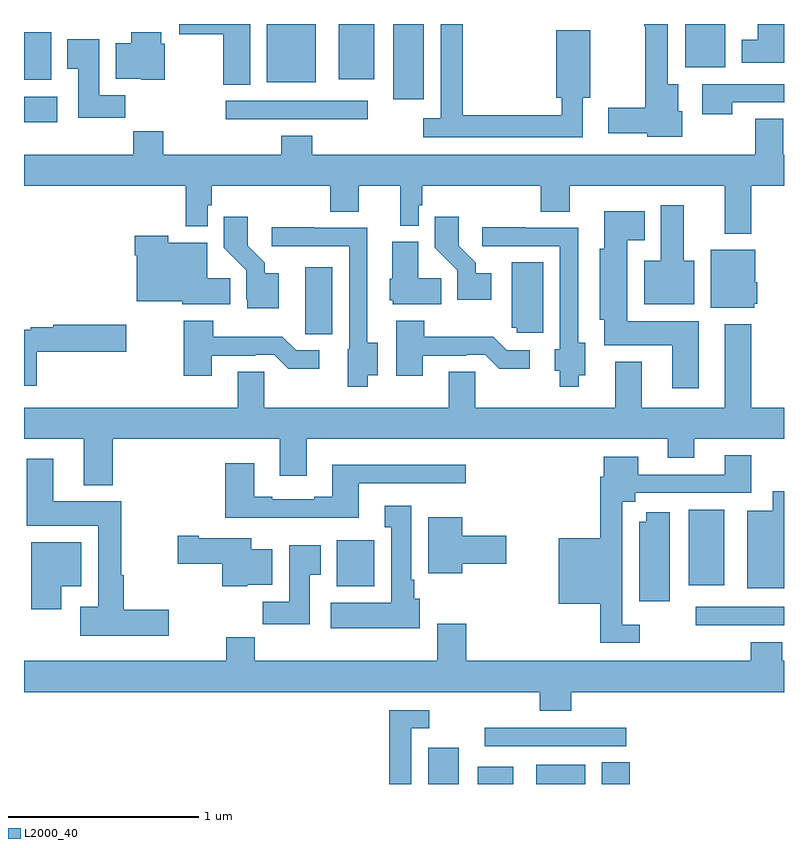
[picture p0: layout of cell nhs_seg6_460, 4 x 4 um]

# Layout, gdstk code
import gdstk
lib = gdstk.Library(unit=1e-6, precision=1e-09)
def R(c, l, rs):  # rectangles x0, y0, x1, y1
    for r in rs: c.add(gdstk.rectangle(r[:2], r[2:], *l))
def P(c, l, *ps):  # polygons
    for p in ps: c.add(gdstk.Polygon(p, *l))
L2000_40 = (2000, 40)

nhs_seg6_460 = lib.new_cell('nhs_seg6_460')
R(nhs_seg6_460, L2000_40, [(139.127,965.5,139.288,965.692), (139.388,965.5,139.576,965.59), (139.697,965.5,139.954,965.602), (140.042,965.5,140.189,965.615), (139.425,965.7,140.17,965.796), (140.535,966.336,141,966.432), (138.647,966.542,138.844,966.784), (140.498,966.545,140.686,966.943), (137,968.984,137.176,969.118), (138.063,969,138.808,969.096), (138.944,969.105,139.105,969.5), (138.278,969.194,138.535,969.5), (137,969.206,137.143,969.456), (138.656,969.209,138.844,969.5), (140.48,969.272,140.692,969.5)])
P(nhs_seg6_460, L2000_40, [(138.19,969.5),(137.816,969.5),(137.816,969.446),(138.049,969.446),(138.049,969.181),(138.19,969.181)],
  [(139.942,969.113),(139.98,969.113),(139.98,969.466),(139.802,969.466),(139.802,969.113),(139.829,969.113),(139.829,969.02),(139.31,969.02),(139.31,969.5),(139.194,969.5),(139.194,969.004),(139.101,969.004),(139.101,968.904),(139.942,968.904)],
  [(141,969.5),(140.861,969.5),(140.861,969.418),(140.777,969.418),(140.777,969.296),(141,969.296)],
  [(140.464,969.042),(140.443,969.042),(140.443,969.184),(140.389,969.184),(140.389,969.5),(140.264,969.5),(140.264,969.489),(140.269,969.489),(140.269,969.059),(140.076,969.059),(140.076,968.924),(140.28,968.924),(140.28,968.906),(140.464,968.906)],
  [(137.742,969.396),(137.722,969.396),(137.722,969.457),(137.564,969.457),(137.564,969.4),(137.483,969.4),(137.483,969.212),(137.616,969.212),(137.616,969.206),(137.742,969.206)],
  [(137.534,969.124),(137.395,969.124),(137.395,969.421),(137.228,969.421),(137.228,969.265),(137.285,969.265),(137.285,969.006),(137.534,969.006)],
  [(140.727,969.087),(141,969.087),(141,969.183),(140.571,969.183),(140.571,969.024),(140.727,969.024)],
  [(140.827,968.648),(141,968.648),(141,968.812),(140.995,968.812),(140.995,969.002),(140.848,969.002),(140.848,968.812),(138.518,968.812),(138.518,968.911),(138.353,968.911),(138.353,968.812),(137.732,968.812),(137.732,968.936),(137.575,968.936),(137.575,968.812),(137,968.812),(137,968.648),(137.851,968.648),(137.851,968.435),(137.967,968.435),(137.967,968.547),(137.987,968.547),(137.987,968.648),(138.611,968.648),(138.611,968.512),(138.763,968.512),(138.763,968.648),(138.98,968.648),(138.98,968.438),(139.077,968.438),(139.077,968.547),(139.097,968.547),(139.097,968.648),(139.721,968.648),(139.721,968.512),(139.873,968.512),(139.873,968.648),(140.687,968.648),(140.687,968.396),(140.827,968.396)],
  [(140.527,968.254),(140.473,968.254),(140.473,968.545),(140.351,968.545),(140.351,968.254),(140.264,968.254),(140.264,968.024),(140.527,968.024)],
  [(140.551,967.936),(140.176,967.936),(140.176,968.363),(140.266,968.363),(140.266,968.515),(140.054,968.515),(140.054,968.316),(140.03,968.316),(140.03,967.944),(140.054,967.944),(140.054,967.808),(140.411,967.808),(140.411,967.584),(140.551,967.584)],
  [(138.34,968.188),(138.268,968.188),(138.268,968.243),(138.178,968.333),(138.178,968.485),(138.052,968.485),(138.052,968.322),(138.171,968.203),(138.171,968.052),(138.176,968.052),(138.176,968.003),(138.34,968.003)],
  [(139.459,968.188),(139.378,968.188),(139.378,968.243),(139.288,968.333),(139.288,968.485),(139.162,968.485),(139.162,968.322),(139.281,968.203),(139.281,968.048),(139.459,968.048)],
  [(139.919,967.652),(139.954,967.652),(139.954,967.823),(139.917,967.823),(139.917,968.427),(139.637,968.427),(139.637,968.43),(139.413,968.43),(139.413,968.331),(139.821,968.331),(139.821,967.788),(139.793,967.788),(139.793,967.674),(139.82,967.674),(139.82,967.592),(139.919,967.592)],
  [(138.808,967.652),(138.862,967.652),(138.862,967.823),(138.807,967.823),(138.807,968.427),(138.527,968.427),(138.527,968.43),(138.303,968.43),(138.303,968.331),(138.711,968.331),(138.711,967.788),(138.704,967.788),(138.704,967.592),(138.808,967.592)],
  [(138.086,968.162),(137.965,968.162),(137.965,968.35),(137.76,968.35),(137.76,968.386),(137.582,968.386),(137.582,968.282),(137.594,968.282),(137.594,968.042),(137.832,968.042),(137.832,968.024),(138.086,968.024)],
  [(139.196,968.162),(139.075,968.162),(139.075,968.353),(138.938,968.353),(138.938,968.16),(138.926,968.16),(138.926,968.046),(138.942,968.046),(138.942,968.024),(139.196,968.024)],
  [(140.844,968.028),(140.86,968.028),(140.86,968.142),(140.848,968.142),(140.848,968.311),(140.615,968.311),(140.615,968.006),(140.844,968.006)],
  [(139.732,968.246),(139.568,968.246),(139.568,967.902),(139.593,967.902),(139.593,967.875),(139.732,967.875)],
  [(138.622,968.221),(138.479,968.221),(138.479,967.978),(138.48,967.978),(138.48,967.867),(138.622,967.867)],
  [(139.099,967.755),(139.328,967.755),(139.328,967.758),(139.428,967.758),(139.501,967.685),(139.663,967.685),(139.663,967.782),(139.542,967.782),(139.469,967.855),(139.107,967.855),(139.107,967.939),(138.959,967.939),(138.959,967.65),(139.099,967.65)],
  [(137.989,967.755),(138.218,967.755),(138.218,967.758),(138.318,967.758),(138.391,967.685),(138.553,967.685),(138.553,967.782),(138.432,967.782),(138.359,967.855),(137.997,967.855),(137.997,967.939),(137.842,967.939),(137.842,967.65),(137.989,967.65)],
  [(137.468,967.316),(138.347,967.316),(138.347,967.122),(138.487,967.122),(138.487,967.316),(140.387,967.316),(140.387,967.217),(140.527,967.217),(140.527,967.316),(141,967.316),(141,967.48),(140.827,967.48),(140.827,967.921),(140.687,967.921),(140.687,967.48),(140.251,967.48),(140.251,967.723),(140.111,967.723),(140.111,967.48),(139.374,967.48),(139.374,967.67),(139.235,967.67),(139.235,967.48),(138.264,967.48),(138.264,967.67),(138.125,967.67),(138.125,967.48),(137,967.48),(137,967.316),(137.315,967.316),(137.315,967.073),(137.468,967.073)],
  [(137.068,967.774),(137.539,967.774),(137.539,967.916),(137.154,967.916),(137.154,967.904),(137.036,967.904),(137.036,967.891),(137,967.891),(137,967.595),(137.068,967.595)],
  [(140.242,966.339),(140.149,966.339),(140.149,966.689),(140.148,966.689),(140.148,966.986),(140.218,966.986),(140.218,967.032),(140.827,967.032),(140.827,967.231),(140.687,967.231),(140.687,967.128),(140.233,967.128),(140.233,967.222),(140.051,967.222),(140.051,967.118),(140.032,967.118),(140.032,966.793),(139.814,966.793),(139.814,966.449),(140.032,966.449),(140.032,966.243),(140.242,966.243)],
  [(137.761,966.416),(137.525,966.416),(137.525,966.599),(137.512,966.599),(137.512,966.988),(137.155,966.988),(137.155,967.213),(137.015,967.213),(137.015,966.86),(137.39,966.86),(137.39,966.433),(137.295,966.433),(137.295,966.281),(137.761,966.281)],
  [(138.763,967.083),(139.324,967.083),(139.324,967.18),(138.623,967.18),(138.623,967.012),(138.527,967.012),(138.527,966.999),(138.307,966.999),(138.307,967.012),(138.211,967.012),(138.211,967.189),(138.059,967.189),(138.059,966.902),(138.763,966.902)],
  [(141,967.042),(140.942,967.042),(140.942,966.937),(140.807,966.937),(140.807,966.53),(141,966.53)],
  [(139.084,966.474),(139.054,966.474),(139.054,966.574),(139.039,966.574),(139.039,966.964),(138.899,966.964),(138.899,966.851),(138.932,966.851),(138.932,966.454),(138.615,966.454),(138.615,966.32),(139.084,966.32)],
  [(140.398,966.929),(140.276,966.929),(140.276,966.88),(140.237,966.88),(140.237,966.462),(140.398,966.462)],
  [(139.306,966.659),(139.537,966.659),(139.537,966.806),(139.306,966.806),(139.306,966.904),(139.127,966.904),(139.127,966.608),(139.306,966.608)],
  [(138.174,966.548),(138.307,966.548),(138.307,966.736),(138.196,966.736),(138.196,966.793),(137.92,966.793),(137.92,966.806),(137.808,966.806),(137.808,966.659),(138.044,966.659),(138.044,966.542),(138.174,966.542)],
  [(137.197,966.542),(137.302,966.542),(137.302,966.772),(137.039,966.772),(137.039,966.42),(137.197,966.42)],
  [(138.505,966.601),(138.562,966.601),(138.562,966.757),(138.395,966.757),(138.395,966.46),(138.256,966.46),(138.256,966.342),(138.505,966.342)],
  [(139.88,965.984),(141,965.984),(141,966.148),(140.99,966.148),(140.99,966.247),(140.825,966.247),(140.825,966.148),(139.328,966.148),(139.328,966.343),(139.175,966.343),(139.175,966.148),(138.215,966.148),(138.215,966.272),(138.064,966.272),(138.064,966.148),(137,966.148),(137,965.984),(139.715,965.984),(139.715,965.885),(139.88,965.885)],
  [(139.038,965.793),(139.132,965.793),(139.132,965.889),(138.922,965.889),(138.922,965.5),(139.038,965.5)])

lib.write_gds('nhs_seg6_460.gds')
